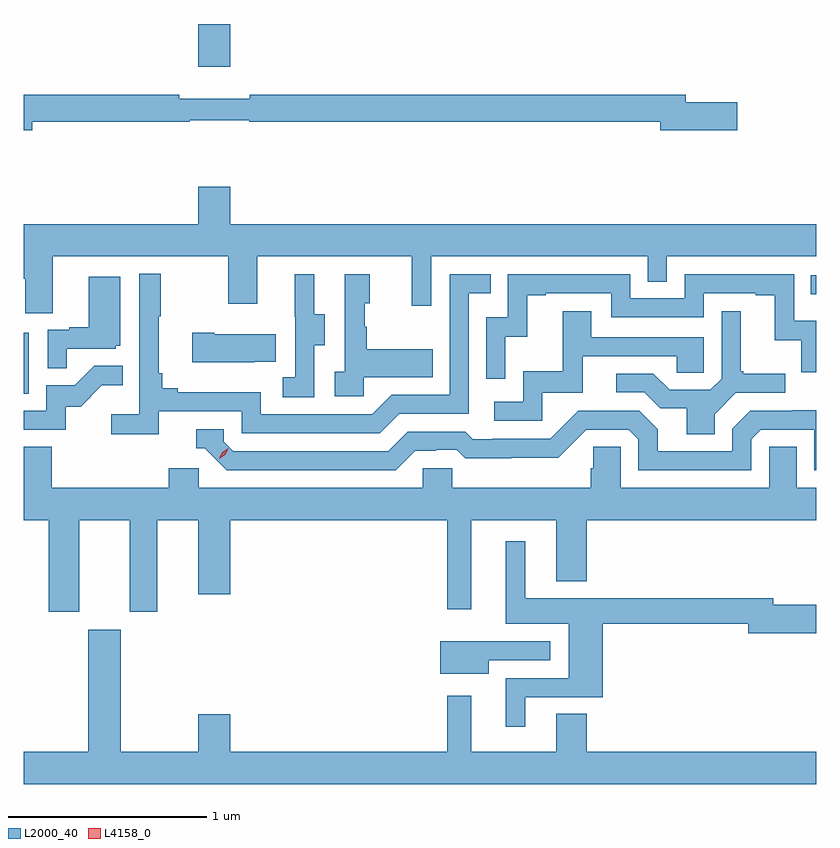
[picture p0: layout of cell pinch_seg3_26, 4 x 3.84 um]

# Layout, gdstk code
import gdstk
lib = gdstk.Library(unit=1e-6, precision=1e-09)
def R(c, l, rs):  # rectangles x0, y0, x1, y1
    for r in rs: c.add(gdstk.rectangle(r[:2], r[2:], *l))
def P(c, l, *ps):  # polygons
    for p in ps: c.add(gdstk.Polygon(p, *l))
L2000_40 = (2000, 40)
L4158_0 = (4158, 0)

pinch_seg3_26 = lib.new_cell('pinch_seg3_26')
R(pinch_seg3_26, L2000_40, [(1111.181,746.844,1111.204,747.151), (1115.155,747.344,1115.181,747.441), (1112.06,748.494,1112.224,748.71)])
P(pinch_seg3_26, L2000_40, [(1111.222,748.216),(1112.018,748.216),(1112.018,748.224),(1112.318,748.224),(1112.318,748.216),(1114.394,748.216),(1114.394,748.174),(1114.783,748.174),(1114.783,748.316),(1114.522,748.316),(1114.522,748.352),(1112.32,748.352),(1112.32,748.333),(1111.964,748.333),(1111.964,748.352),(1111.181,748.352),(1111.181,748.174),(1111.222,748.174)],
  [(1111.327,747.536),(1112.212,747.536),(1112.212,747.297),(1112.359,747.297),(1112.359,747.536),(1113.14,747.536),(1113.14,747.288),(1113.237,747.288),(1113.237,747.536),(1114.332,747.536),(1114.332,747.409),(1114.428,747.409),(1114.428,747.536),(1115.181,747.536),(1115.181,747.7),(1112.224,747.7),(1112.224,747.889),(1112.06,747.889),(1112.06,747.7),(1111.181,747.7),(1111.181,747.424),(1111.187,747.424),(1111.187,747.25),(1111.327,747.25)],
  [(1111.862,746.754),(1112.28,746.754),(1112.28,746.643),(1112.977,746.643),(1113.076,746.742),(1113.426,746.742),(1113.426,747.351),(1113.539,747.351),(1113.539,747.447),(1113.33,747.447),(1113.33,746.838),(1113.039,746.838),(1112.94,746.739),(1112.376,746.739),(1112.376,746.851),(1111.957,746.851),(1111.957,746.87),(1111.88,746.87),(1111.88,746.947),(1111.861,746.947),(1111.861,747.235),(1111.873,747.235),(1111.873,747.448),(1111.764,747.448),(1111.764,746.74),(1111.623,746.74),(1111.623,746.638),(1111.862,746.638)],
  [(1113.612,747.131),(1113.722,747.131),(1113.722,747.339),(1113.817,747.339),(1113.817,747.351),(1114.146,747.351),(1114.146,747.228),(1114.614,747.228),(1114.614,747.351),(1114.877,747.351),(1114.877,747.339),(1114.973,747.339),(1114.973,747.113),(1115.106,747.113),(1115.106,746.952),(1115.181,746.952),(1115.181,747.211),(1115.07,747.211),(1115.07,747.447),(1114.518,747.447),(1114.518,747.324),(1114.242,747.324),(1114.242,747.447),(1113.624,747.447),(1113.624,747.228),(1113.516,747.228),(1113.516,746.919),(1113.612,746.919)],
  [(1112.898,746.927),(1113.245,746.927),(1113.245,747.067),(1112.911,747.067),(1112.911,747.182),(1112.901,747.182),(1112.901,747.3),(1112.926,747.3),(1112.926,747.445),(1112.802,747.445),(1112.802,746.954),(1112.751,746.954),(1112.751,746.829),(1112.898,746.829)],
  [(1112.646,747.088),(1112.701,747.088),(1112.701,747.243),(1112.647,747.243),(1112.647,747.445),(1112.549,747.445),(1112.549,747.231),(1112.55,747.231),(1112.55,746.927),(1112.487,746.927),(1112.487,746.824),(1112.646,746.824)],
  [(1111.397,747.069),(1111.644,747.069),(1111.644,747.084),(1111.666,747.084),(1111.666,747.433),(1111.508,747.433),(1111.508,747.178),(1111.409,747.178),(1111.409,747.165),(1111.302,747.165),(1111.302,746.971),(1111.397,746.971)],
  [(1114.669,746.74),(1114.776,746.847),(1115.026,746.847),(1115.026,746.944),(1114.813,746.944),(1114.813,746.956),(1114.801,746.956),(1114.801,747.259),(1114.704,747.259),(1114.704,746.919),(1114.647,746.862),(1114.441,746.862),(1114.36,746.943),(1114.173,746.943),(1114.173,746.85),(1114.314,746.85),(1114.394,746.77),(1114.529,746.77),(1114.529,746.638),(1114.669,746.638)],
  [(1113.798,746.847),(1114.003,746.847),(1114.003,747.033),(1114.477,747.033),(1114.477,746.949),(1114.614,746.949),(1114.614,747.129),(1114.045,747.129),(1114.045,747.259),(1113.901,747.259),(1113.901,746.956),(1113.702,746.956),(1113.702,746.802),(1113.555,746.802),(1113.555,746.706),(1113.798,746.706)],
  [(1112.345,747.005),(1112.453,747.005),(1112.453,747.142),(1112.143,747.142),(1112.143,747.15),(1112.031,747.15),(1112.031,747.002),(1112.345,747.002)],
  [(1111.392,746.778),(1111.468,746.778),(1111.575,746.885),(1111.679,746.885),(1111.679,746.984),(1111.535,746.984),(1111.437,746.886),(1111.293,746.886),(1111.293,746.757),(1111.181,746.757),(1111.181,746.661),(1111.392,746.661)],
  [(1113.157,746.556),(1113.264,746.556),(1113.264,746.559),(1113.367,746.559),(1113.409,746.517),(1113.642,746.517),(1113.642,746.519),(1113.878,746.519),(1114.02,746.661),(1114.236,746.661),(1114.284,746.613),(1114.284,746.457),(1114.854,746.457),(1114.854,746.613),(1114.902,746.661),(1115.172,746.661),(1115.172,746.457),(1115.181,746.457),(1115.181,746.759),(1115.064,746.759),(1115.064,746.757),(1114.848,746.757),(1114.758,746.667),(1114.758,746.553),(1114.381,746.553),(1114.381,746.663),(1114.287,746.757),(1113.981,746.757),(1113.84,746.616),(1113.547,746.616),(1113.547,746.613),(1113.448,746.613),(1113.409,746.652),(1113.12,746.652),(1113.021,746.553),(1112.238,746.553),(1112.19,746.601),(1112.19,746.664),(1112.051,746.664),(1112.051,746.568),(1112.094,746.568),(1112.205,746.457),(1113.058,746.457)],
  [(1111.459,746.204),(1111.715,746.204),(1111.715,745.743),(1111.855,745.743),(1111.855,746.204),(1112.06,746.204),(1112.06,745.83),(1112.224,745.83),(1112.224,746.204),(1113.318,746.204),(1113.318,745.755),(1113.439,745.755),(1113.439,746.204),(1113.869,746.204),(1113.869,745.895),(1114.022,745.895),(1114.022,746.204),(1115.181,746.204),(1115.181,746.368),(1115.083,746.368),(1115.083,746.576),(1114.944,746.576),(1114.944,746.368),(1114.194,746.368),(1114.194,746.576),(1114.057,746.576),(1114.057,746.466),(1114.043,746.466),(1114.043,746.368),(1113.345,746.368),(1113.345,746.466),(1113.195,746.466),(1113.195,746.368),(1112.064,746.368),(1112.064,746.466),(1111.913,746.466),(1111.913,746.368),(1111.322,746.368),(1111.322,746.576),(1111.181,746.576),(1111.181,746.204),(1111.307,746.204),(1111.307,745.743),(1111.459,745.743)],
  [(1113.712,745.311),(1114.103,745.311),(1114.103,745.681),(1114.838,745.681),(1114.838,745.634),(1115.181,745.634),(1115.181,745.776),(1114.966,745.776),(1114.966,745.81),(1113.712,745.81),(1113.712,746.098),(1113.614,746.098),(1113.614,745.682),(1113.932,745.682),(1113.932,745.407),(1113.614,745.407),(1113.614,745.161),(1113.712,745.161)],
  [(1111.505,745.651),(1111.505,745.036),(1111.181,745.036),(1111.181,744.872),(1115.181,744.872),(1115.181,745.036),(1114.022,745.036),(1114.022,745.226),(1113.869,745.226),(1113.869,745.036),(1113.439,745.036),(1113.439,745.318),(1113.318,745.318),(1113.318,745.036),(1112.224,745.036),(1112.224,745.225),(1112.06,745.225),(1112.06,745.036),(1111.669,745.036),(1111.669,745.651)],
  [(1113.529,745.497),(1113.838,745.497),(1113.838,745.593),(1113.525,745.593),(1113.525,745.594),(1113.284,745.594),(1113.284,745.43),(1113.529,745.43)])
P(pinch_seg3_26, L4158_0, [(1112.168,746.514),(1112.168,746.515),(1112.183,746.547),(1112.213,746.567),(1112.213,746.567),(1112.213,746.567),(1112.198,746.534),(1112.168,746.514)])

lib.write_gds('pinch_seg3_26.gds')
